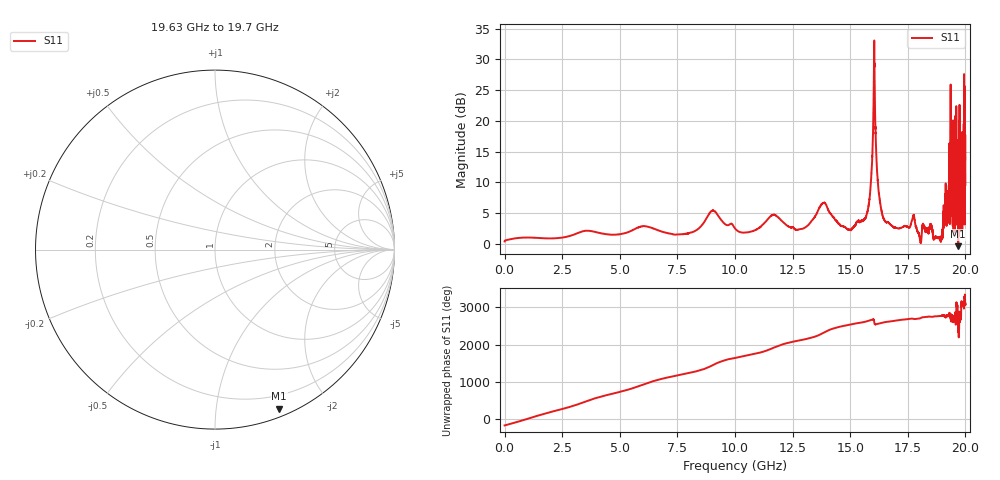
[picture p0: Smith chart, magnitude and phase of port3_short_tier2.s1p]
! Created with skrf 1.8.0 (http://scikit-rf.org).
# GHz S RI R 50.0
!freq ReS11 ImS11
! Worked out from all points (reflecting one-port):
!   10001 points, 1 MHz to 20 GHz, reference 50 ohm
!   lowest |S11| = -0.4 dB at 19.69 GHz (marker M1), VSWR 44.69, Z = 3.57 - j74 ohm
!   phase of S11 starts at -180 deg and turns +3260 deg over the sweep
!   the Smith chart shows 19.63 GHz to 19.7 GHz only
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0.001  -1.045 -0.00624
1.504925  -0.1209 1.107
2.500875  -0.1266 -1.115
3.432828  0.0946 1.264
5.00075  1.194 0.087
5.900705  -1.374 0.0845
6.740663  1.217 -0.3688
7.500625  0.0372 1.19
8.350582  -1.195 -0.508
9.032548  1.859 0.1295
10.0005  -1.266 -0.4124
11.16844  1.409 -0.0623
11.60442  -0.1534 1.702
12.50038  0.094 -1.365
13.33633  1.374 0.704
13.9103  -2.134 -0.0186
15.00025  1.244 0.379
15.75621  -0.6634 1.722
15.9402  -3.646 2.331
15.9662  -4.914 2.562
16.0382  -16.51 31.07
16.14419  4.106 2.214
16.18619  2.812 1.973
16.39018  0.6917 1.59
17.50013  -1.321 0.3736
19.27404  -0.8364 -2.423
19.68802  0.3577 -0.8868
20  -2.825 -1.037
